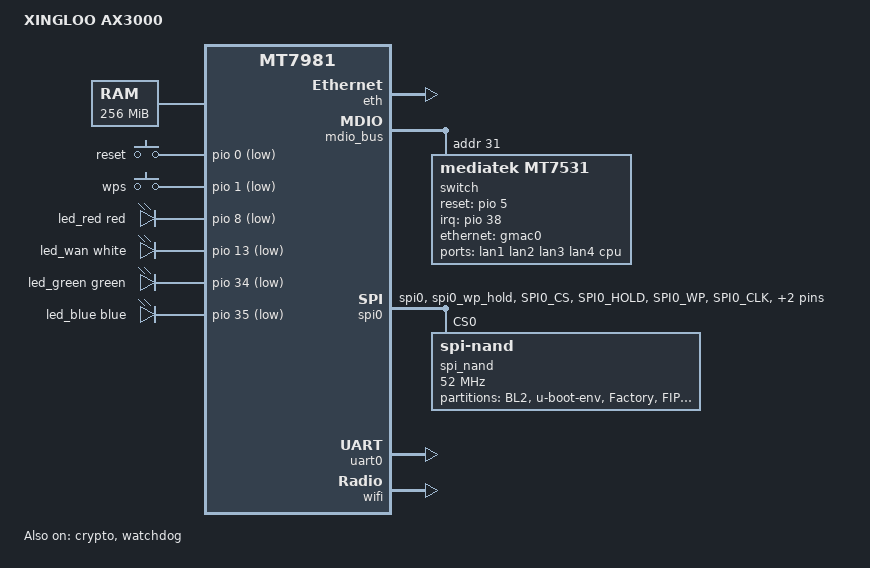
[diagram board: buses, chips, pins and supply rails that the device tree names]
// SPDX-License-Identifier: GPL-2.0-or-later OR MIT
/*
 * XINGLOO AX3000 (COMFAST CF-WR630AX) MT7981 mesh AP
 *
 * Derived from the vendor DTB extracted from the stock firmware FIT image
 * (see backup: cf-wr630ax-vendor-fit.dtb, model "COMFAST CF-WR630AX").
 *
 * Hardware:
 *   SoC    : MediaTek MT7981B (2x Cortex-A53)
 *   RAM    : DDR3 256 MiB @ 0x40000000
 *   Flash  : SPI-NAND 128 MiB (Winbond), NMBM, 128k blocks / 2048b pages
 *   Switch : MediaTek MT7531AE (MDIO 0x1f) -> lan1..lan4 (port 0..3)
 *   WAN    : gmac1 + MT7981 integrated GbE PHY (mdio-bus 0x00)
 *   WLAN   : MT7976CN (mt7915e, eeprom in Factory @ 0x0)
 *   LEDs   : red gpio8, wan gpio13, green gpio34, blue gpio35 (active low)
 *   Keys   : reset gpio0, mesh/wps gpio1 (active low)
 */

/dts-v1/;
#include "mt7981b.dtsi"

/ {
	model = "XINGLOO AX3000";
	compatible = "comfast,cf-wr630ax", "mediatek,mt7981";

	aliases {
		serial0 = &uart0;
		led-boot = &led_red;
		led-failsafe = &led_red;
		led-running = &led_blue;
		led-upgrade = &led_green;
	};

	chosen {
		bootargs-override = "console=ttyS0,115200n8";
		stdout-path = "serial0:115200n8";
	};

	memory@40000000 {
		reg = <0 0x40000000 0 0x10000000>; // 256mb
		device_type = "memory";
	};

	gpio-keys {
		compatible = "gpio-keys";

		reset {
			label = "reset";
			linux,code = <KEY_RESTART>;
			gpios = <&pio 0 GPIO_ACTIVE_LOW>;
		};

		wps {
			label = "wps";
			linux,code = <KEY_WPS_BUTTON>;
			gpios = <&pio 1 GPIO_ACTIVE_LOW>;
		};
	};

	leds {
		compatible = "gpio-leds";

		led_red: red {
			gpios = <&pio 8 GPIO_ACTIVE_LOW>;
			color = <LED_COLOR_ID_RED>;
			function = LED_FUNCTION_STATUS;
		};

		led_wan: wan {
			gpios = <&pio 13 GPIO_ACTIVE_LOW>;
			color = <LED_COLOR_ID_WHITE>;
			function = LED_FUNCTION_WAN;
		};

		led_green: green {
			gpios = <&pio 34 GPIO_ACTIVE_LOW>;
			color = <LED_COLOR_ID_GREEN>;
			function = LED_FUNCTION_STATUS;
		};

		led_blue: blue {
			gpios = <&pio 35 GPIO_ACTIVE_LOW>;
			color = <LED_COLOR_ID_BLUE>;
			function = LED_FUNCTION_STATUS;
		};
	};
};

&eth {
	status = "okay";

	gmac0: mac@0 {
		/* LAN (MT7531AE CPU port) */
		compatible = "mediatek,eth-mac";
		reg = <0>;
		phy-mode = "2500base-x";
		nvmem-cells = <&macaddr_factory_e000 0>;
		nvmem-cell-names = "mac-address";

		fixed-link {
			speed = <2500>;
			full-duplex;
			pause;
		};
	};

	gmac1: mac@1 {
		/* WAN */
		compatible = "mediatek,eth-mac";
		reg = <1>;
		phy-mode = "gmii";
		phy-handle = <&int_gbe_phy>;
		nvmem-cells = <&macaddr_factory_e000 1>;
		nvmem-cell-names = "mac-address";
	};
};

&mdio_bus {
	switch: switch@1f {
		compatible = "mediatek,mt7531";
		reg = <31>;
		interrupt-controller;
		#interrupt-cells = <1>;
		interrupt-parent = <&pio>;
		interrupts = <38 IRQ_TYPE_LEVEL_HIGH>;
		reset-gpios = <&pio 5 GPIO_ACTIVE_HIGH>;
	};
};

&switch {
	ports {
		#address-cells = <1>;
		#size-cells = <0>;

		port@0 {
			reg = <0>;
			label = "lan1";
		};

		port@1 {
			reg = <1>;
			label = "lan2";
		};

		port@2 {
			reg = <2>;
			label = "lan3";
		};

		port@3 {
			reg = <3>;
			label = "lan4";
		};

		port@6 {
			reg = <6>;
			label = "cpu";
			ethernet = <&gmac0>;
			phy-mode = "2500base-x";

			fixed-link {
				speed = <2500>;
				full-duplex;
				pause;
			};
		};
	};
};

&crypto {
	status = "okay";
};

&pio {
	spi0_flash_pins: spi0-pins {
		mux {
			function = "spi";
			groups = "spi0", "spi0_wp_hold";
		};

		conf-pu {
			pins = "SPI0_CS", "SPI0_HOLD", "SPI0_WP";
			drive-strength = <MTK_DRIVE_8mA>;
			bias-pull-up = <MTK_PUPD_SET_R1R0_11>;
		};

		conf-pd {
			pins = "SPI0_CLK", "SPI0_MOSI", "SPI0_MISO";
			drive-strength = <MTK_DRIVE_8mA>;
			bias-pull-down = <MTK_PUPD_SET_R1R0_11>;
		};
	};
};

&spi0 {
	pinctrl-names = "default";
	pinctrl-0 = <&spi0_flash_pins>;
	#address-cells = <1>;
	#size-cells = <0>;
	status = "okay";

	spi_nand: spi_nand@0 {
		compatible = "spi-nand";
		reg = <0>;
		spi-max-frequency = <52000000>;

		spi-cal-enable;
		spi-cal-mode = "read-data";
		spi-cal-datalen = <7>;
		spi-cal-data = /bits/ 8 <0x53 0x50 0x49 0x4E 0x41 0x4E 0x44>;
		spi-cal-addrlen = <5>;
		spi-cal-addr = /bits/ 32 <0x0 0x0 0x0 0x0 0x0>;

		spi-tx-bus-width = <4>;
		spi-rx-bus-width = <4>;
		mediatek,nmbm;
		mediatek,bmt-max-ratio = <1>;
		mediatek,bmt-max-reserved-blocks = <64>;

		partitions {
			compatible = "fixed-partitions";
			#address-cells = <1>;
			#size-cells = <1>;

			partition@0 {
				label = "BL2";
				reg = <0x00000 0x0100000>;
				read-only;
			};

			partition@100000 {
				label = "u-boot-env";
				reg = <0x0100000 0x0080000>;
				read-only;
			};

			partition@180000 {
				label = "Factory";
				reg = <0x180000 0x0200000>;
				read-only;

				nvmem-layout {
					compatible = "fixed-layout";
					#address-cells = <1>;
					#size-cells = <1>;

					eeprom_factory_0: eeprom@0 {
						reg = <0x0 0x1000>;
					};

					macaddr_factory_e000: macaddr@e000 {
						compatible = "mac-base";
						reg = <0xe000 0x6>;
						#nvmem-cell-cells = <1>;
					};
				};
			};

			partition@380000 {
				label = "FIP";
				reg = <0x380000 0x0200000>;
				read-only;
			};

			partition@580000 {
				label = "ubi";
				reg = <0x580000 0x4000000>;
				compatible = "linux,ubi";
			};
		};
	};
};

&uart0 {
	status = "okay";
};

&watchdog {
	status = "okay";
};

&wifi {
	status = "okay";
	nvmem-cells = <&eeprom_factory_0>;
	nvmem-cell-names = "eeprom";
};
